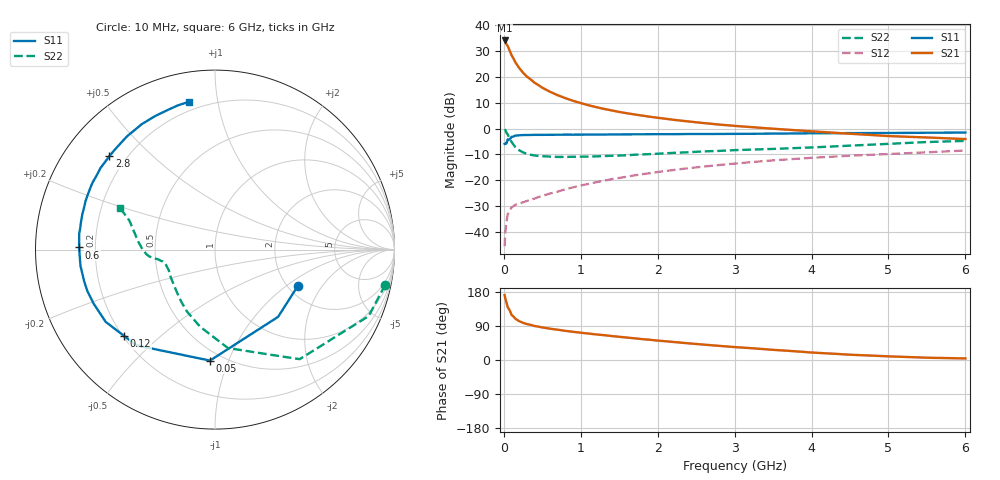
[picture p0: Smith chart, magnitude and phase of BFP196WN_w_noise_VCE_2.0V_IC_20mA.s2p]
! Infineon Technologies  Discrete & RF Semiconductors
! BFP196WN
! VCE =  2.0 V,  IC =  20 mA
! Common Emitter S-Parameters:  Jan 2017
# GHz  S  MA  R  50
!  f  S11  S21  S12  S22
! GHz  MAG  ANG  MAG  ANG  MAG  ANG  MAG  ANG
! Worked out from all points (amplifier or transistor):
!   77 points, 10 MHz to 6 GHz, reference 50 ohm
!   highest |S21| = 34.1 dB at 10 MHz (marker M1)
!   |S21| within 3 dB of that: start of sweep to 62.42 MHz
!   unconditionally stable (mu >= 1): 876 MHz to 2.858 GHz
!   at 130 MHz: K = 0.32, MSG = 28.4 dB, |S12| = -29.9 dB
!   at 2.2 GHz: K = 1.04, MAG = 8.5 dB, |S12| = -16.1 dB
!   at 6 GHz: K = 0.92, MSG = 2.2 dB, |S12| = -8.5 dB
!   lowest NFmin = 0.96 dB at 450 MHz
!   S11 on the Smith chart (normalised r, x): 10 MHz: 2.27, -1.22; 50 MHz: 0.43, -0.86; 120 MHz: 0.20, -0.38; 600 MHz: 0.14, +0.01; 2.8 GHz: 0.14, +0.37; 6 GHz: 0.15, +0.83
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0.01  0.5043 -23.4  50.56 171.3  0.0053 84.1  0.9686 -11.7
0.02  0.5138 -46.8  47.66 161.3  0.01 74.9  0.9329 -23.4
0.05  0.6191 -92.6  39.4 139.3  0.022 54.5  0.7715 -52.3
0.1  0.6901 -129.4  26.27 119.1  0.0297 42.7  0.5534 -82.5
0.12  0.6985 -136.5  23.33 115.7  0.0312 40.7  0.501 -88.9
0.15  0.7301 -146.5  19.12 108.8  0.0336 38.0  0.4373 -101.0
0.2  0.7399 -155.9  14.77 102.4  0.035 38.0  0.3796 -114.1
0.25  0.7477 -162.0  12.02 98.0  0.0375 39.2  0.3458 -123.0
0.3  0.75 -166.5  10.12 94.8  0.0397 40.4  0.322 -130.5
0.4  0.7548 -172.9  7.674 89.7  0.0443 45.1  0.3009 -140.2
0.5  0.7547 -177.4  6.161 85.9  0.0499 48.2  0.2916 -147.1
0.6  0.7573 179.1  5.151 82.6  0.0553 51.0  0.2867 -152.1
0.7  0.7586 176.2  4.413 79.9  0.0601 53.3  0.2822 -155.4
0.8  0.7617 173.4  3.871 76.9  0.0668 55.3  0.2825 -157.8
1.1  0.7632 166.8  2.825 69.8  0.0848 58.8  0.2866 -163.3
1.5  0.7703 159.5  2.096 61.2  0.1107 60.1  0.3002 -167.5
2.1  0.7776 149.3  1.546 49.5  0.1506 59.1  0.332 -171.1
2.8  0.7857 138.5  1.193 37.3  0.1969 55.8  0.3692 -174.2
3.1  0.7893 133.9  1.097 32.8  0.2161 53.5  0.3861 -176.8
4.1  0.8098 119.0  0.865 18.6  0.2764 46.0  0.4374 172.4
5.1  0.8222 108.0  0.706 8.9  0.3262 38.6  0.5138 160.5
6  0.8363 100.0  0.625 4.1  0.3759 32.6  0.5763 156.5
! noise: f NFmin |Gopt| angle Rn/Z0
0.45  0.96  0.4  169  0.05
0.9  1.1  0.5  179  0.05
1.9  2.1  0.69  210  0.12
2.4  2.86  0.7  216  0.23
